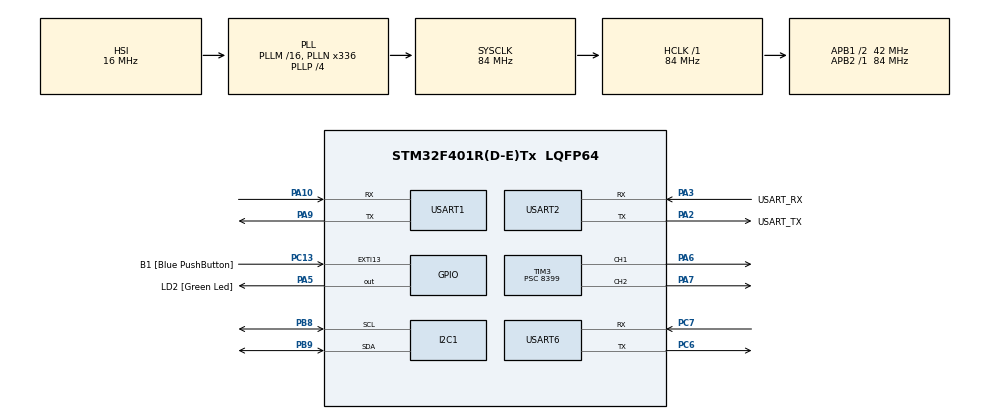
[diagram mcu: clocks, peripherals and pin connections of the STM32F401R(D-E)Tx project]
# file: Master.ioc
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Mcu.Family=STM32F4
Mcu.Name=STM32F401R(D-E)Tx
Mcu.Package=LQFP64
NVIC.PriorityGroup=NVIC_PRIORITYGROUP_4
NVIC.TIM3_IRQn=true\:0\:0\:false\:false\:true\:true\:true\:true
NVIC.USART1_IRQn=true\:0\:0\:false\:false\:true\:true\:true\:true
NVIC.USART6_IRQn=true\:0\:0\:false\:false\:true\:true\:true\:true
PA10.GPIO_Speed=GPIO_SPEED_FREQ_HIGH
PA10.Mode=Asynchronous
PA10.Signal=USART1_RX
PA13.GPIO_Label=TMS
PA13.Mode=Trace_Asynchronous_SW
PA13.Signal=SYS_JTMS-SWDIO
PA14.GPIO_Label=TCK
PA14.Mode=Trace_Asynchronous_SW
PA14.Signal=SYS_JTCK-SWCLK
PA2.GPIO_Label=USART_TX
PA2.GPIO_Mode=GPIO_MODE_AF_PP
PA2.GPIO_PuPd=GPIO_NOPULL
PA2.GPIO_Speed=GPIO_SPEED_FREQ_LOW
PA2.Mode=Asynchronous
PA2.Signal=USART2_TX
PA3.GPIO_Label=USART_RX
PA3.GPIO_Mode=GPIO_MODE_AF_PP
PA3.GPIO_PuPd=GPIO_NOPULL
PA3.GPIO_Speed=GPIO_SPEED_FREQ_LOW
PA3.Mode=Asynchronous
PA3.Signal=USART2_RX
PA5.GPIO_Label=LD2 [Green Led]
PA5.GPIO_Mode=GPIO_MODE_OUTPUT_PP
PA5.GPIO_PuPd=GPIO_NOPULL
PA5.GPIO_Speed=GPIO_SPEED_FREQ_LOW
PA5.Signal=GPIO_Output
PA6.Signal=S_TIM3_CH1
PA7.Signal=S_TIM3_CH2
PA9.GPIO_Speed=GPIO_SPEED_FREQ_HIGH
PA9.Mode=Asynchronous
PA9.Signal=USART1_TX
PB3.GPIO_Label=SWO
PB3.Mode=Trace_Asynchronous_SW
PB3.Signal=SYS_JTDO-SWO
PB8.GPIO_Pu=GPIO_PULLUP
PB8.Mode=I2C
PB8.Signal=I2C1_SCL
PB9.GPIO_Pu=GPIO_PULLUP
PB9.Mode=I2C
PB9.Signal=I2C1_SDA
PC13-ANTI_TAMP.GPIO_Label=B1 [Blue PushButton]
PC13-ANTI_TAMP.GPIO_ModeDefaultEXTI=GPIO_MODE_IT_FALLING
PC13-ANTI_TAMP.GPIO_PuPd=GPIO_NOPULL
PC13-ANTI_TAMP.Signal=GPXTI13
PC14-OSC32_IN.Mode=LSE-External-Oscillator
PC14-OSC32_IN.Signal=RCC_OSC32_IN
PC15-OSC32_OUT.Mode=LSE-External-Oscillator
PC15-OSC32_OUT.Signal=RCC_OSC32_OUT
PC6.GPIO_Speed=GPIO_SPEED_FREQ_HIGH
PC6.Mode=Asynchronous
PC6.Signal=USART6_TX
PC7.GPIO_Speed=GPIO_SPEED_FREQ_HIGH
PC7.Mode=Asynchronous
PC7.Signal=USART6_RX
PH0\ -\ OSC_IN.Mode=HSE-External-Clock-Source
PH0\ -\ OSC_IN.Signal=RCC_OSC_IN
PH1\ -\ OSC_OUT.Mode=HSE-External-Clock-Source
PH1\ -\ OSC_OUT.Signal=RCC_OSC_OUT
ProjectManager.HeapSize=0x200
ProjectManager.StackSize=0x400
ProjectManager.TargetToolchain=STM32CubeIDE
RCC.48MHZClocksFreq_Value=48000000
RCC.AHBFreq_Value=84000000
RCC.APB1CLKDivider=RCC_HCLK_DIV2
RCC.APB1Freq_Value=42000000
RCC.APB1TimFreq_Value=84000000
RCC.APB2Freq_Value=84000000
RCC.APB2TimFreq_Value=84000000
RCC.CortexFreq_Value=84000000
RCC.HCLKFreq_Value=84000000
RCC.HSE_VALUE=8000000
RCC.HSI_VALUE=16000000
RCC.PLLN=336
RCC.PLLP=RCC_PLLP_DIV4
RCC.PLLQ=7
RCC.SYSCLKFreq_VALUE=84000000
RCC.SYSCLKSource=RCC_SYSCLKSOURCE_PLLCLK
RCC.VCOOutputFreq_Value=336000000
SH.S_TIM3_CH1.0=TIM3_CH1,Output Compare1 CH1
SH.S_TIM3_CH2.0=TIM3_CH2,Output Compare2 CH2
TIM3.Channel-Output\ Compare1\ CH1=TIM_CHANNEL_1
TIM3.Channel-Output\ Compare2\ CH2=TIM_CHANNEL_2
TIM3.Period=65535
TIM3.Prescaler=8399
USART1.VirtualMode=VM_ASYNC
USART2.VirtualMode=VM_ASYNC
USART6.VirtualMode=VM_ASYNC
VP_TIM3_VS_ClockSourceINT.Mode=Internal
board=NUCLEO-F401RE

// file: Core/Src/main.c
/* USER CODE BEGIN Header */
/**
 ******************************************************************************
 * @file           : main.c
 * @brief          : Main program body
 ******************************************************************************
 * @attention
 *
 * Copyright (c) 2025 STMicroelectronics.
 * All rights reserved.
 *
 * This software is licensed under terms that can be found in the LICENSE file
 * in the root directory of this software component.
 * If no LICENSE file comes with this software, it is provided AS-IS.
 *
 ******************************************************************************
 */
/* USER CODE END Header */
#include "main.h"

/* USER CODE BEGIN Includes */

#include <stdio.h>
#include <inttypes.h>
#include "ssd1306/ssd1306.h"
#include "ssd1306/ssd1306_fonts.h"

/* USER CODE END Includes */

I2C_HandleTypeDef hi2c1;

TIM_HandleTypeDef htim3;

UART_HandleTypeDef huart1;
UART_HandleTypeDef huart2;
UART_HandleTypeDef huart6;

void SystemClock_Config(void);
static void MX_GPIO_Init(void);
static void MX_I2C1_Init(void);
static void MX_USART1_UART_Init(void);
static void MX_USART6_UART_Init(void);
static void MX_USART2_UART_Init(void);
static void MX_TIM3_Init(void);
/* USER CODE BEGIN PFP */

#define INCIDENTS_LOCK_BIT 1U //const for lock bit
__IO uint32_t incidents_lock = 0; //lock variable for incidents

#define DELAY_TICKS 30000U //delay ticks for TIM3

/* USER CODE END PFP */

/* USER CODE BEGIN 0 */

uint8_t rx1[8], rx6[8]; // Variables to hold received data from UART1 and UART6
uint32_t incidents = 0;

/* USER CODE END 0 */

int main(void)
{

  /* MCU Configuration--------------------------------------------------------*/

  /* Reset of all peripherals, Initializes the Flash interface and the Systick. */
  HAL_Init();

  /* Configure the system clock */
  SystemClock_Config();

  /* Initialize all configured peripherals */
  MX_GPIO_Init();
  MX_I2C1_Init();
  MX_USART1_UART_Init();
  MX_USART6_UART_Init();
  MX_USART2_UART_Init();
  MX_TIM3_Init();
  /* USER CODE BEGIN 2 */

	HAL_TIM_Base_Start(&htim3);
	HAL_UART_Receive_IT(&huart1, rx1, 8);
	HAL_UART_Receive_IT(&huart6, rx6, 8);

	ssd1306_Init();

	// Clear the OLED display
	ssd1306_Fill(Black);
	ssd1306_UpdateScreen();

	char incidents_string[11] = "Undefined!";

  /* USER CODE END 2 */

  /* Infinite loop */
	while (1) {

    /* USER CODE BEGIN 3 */

		// Display the number of incidents on the OLED
		ssd1306_SetCursor(2, 0);
		ssd1306_WriteString("Numero incidenti:", Font_7x10, White);
		ssd1306_SetCursor(2, 18);
		snprintf(incidents_string, sizeof(incidents_string), "%" PRIu32,
				incidents);
		ssd1306_WriteString(incidents_string, Font_11x18, White);
		ssd1306_UpdateScreen();
	}
  /* USER CODE END 3 */
}

void SystemClock_Config(void)
{
  RCC_OscInitTypeDef RCC_OscInitStruct = {0};
  RCC_ClkInitTypeDef RCC_ClkInitStruct = {0};

  /** Configure the main internal regulator output voltage
  */
  __HAL_RCC_PWR_CLK_ENABLE();
  __HAL_PWR_VOLTAGESCALING_CONFIG(PWR_REGULATOR_VOLTAGE_SCALE2);

  /** Initializes the RCC Oscillators according to the specified parameters
  * in the RCC_OscInitTypeDef structure.
  */
  RCC_OscInitStruct.OscillatorType = RCC_OSCILLATORTYPE_HSI;
  RCC_OscInitStruct.HSIState = RCC_HSI_ON;
  RCC_OscInitStruct.HSICalibrationValue = RCC_HSICALIBRATION_DEFAULT;
  RCC_OscInitStruct.PLL.PLLState = RCC_PLL_ON;
  RCC_OscInitStruct.PLL.PLLSource = RCC_PLLSOURCE_HSI;
  RCC_OscInitStruct.PLL.PLLM = 16;
  RCC_OscInitStruct.PLL.PLLN = 336;
  RCC_OscInitStruct.PLL.PLLP = RCC_PLLP_DIV4;
  RCC_OscInitStruct.PLL.PLLQ = 7;
  if (HAL_RCC_OscConfig(&RCC_OscInitStruct) != HAL_OK)
  {
    Error_Handler();
  }

  /** Initializes the CPU, AHB and APB buses clocks
  */
  RCC_ClkInitStruct.ClockType = RCC_CLOCKTYPE_HCLK|RCC_CLOCKTYPE_SYSCLK
                              |RCC_CLOCKTYPE_PCLK1|RCC_CLOCKTYPE_PCLK2;
  RCC_ClkInitStruct.SYSCLKSource = RCC_SYSCLKSOURCE_PLLCLK;
  RCC_ClkInitStruct.AHBCLKDivider = RCC_SYSCLK_DIV1;
  RCC_ClkInitStruct.APB1CLKDivider = RCC_HCLK_DIV2;
  RCC_ClkInitStruct.APB2CLKDivider = RCC_HCLK_DIV1;

  if (HAL_RCC_ClockConfig(&RCC_ClkInitStruct, FLASH_LATENCY_2) != HAL_OK)
  {
    Error_Handler();
  }
}

static void MX_I2C1_Init(void)
{

  hi2c1.Instance = I2C1;
  hi2c1.Init.ClockSpeed = 100000;
  hi2c1.Init.DutyCycle = I2C_DUTYCYCLE_2;
  hi2c1.Init.OwnAddress1 = 0;
  hi2c1.Init.AddressingMode = I2C_ADDRESSINGMODE_7BIT;
  hi2c1.Init.DualAddressMode = I2C_DUALADDRESS_DISABLE;
  hi2c1.Init.OwnAddress2 = 0;
  hi2c1.Init.GeneralCallMode = I2C_GENERALCALL_DISABLE;
  hi2c1.Init.NoStretchMode = I2C_NOSTRETCH_DISABLE;
  if (HAL_I2C_Init(&hi2c1) != HAL_OK)
  {
    Error_Handler();
  }

}

static void MX_TIM3_Init(void)
{

  TIM_ClockConfigTypeDef sClockSourceConfig = {0};
  TIM_MasterConfigTypeDef sMasterConfig = {0};
  TIM_OC_InitTypeDef sConfigOC = {0};

  htim3.Instance = TIM3;
  htim3.Init.Prescaler = 8399;
  htim3.Init.CounterMode = TIM_COUNTERMODE_UP;
  htim3.Init.Period = 65535;
  htim3.Init.ClockDivision = TIM_CLOCKDIVISION_DIV1;
  htim3.Init.AutoReloadPreload = TIM_AUTORELOAD_PRELOAD_DISABLE;
  if (HAL_TIM_Base_Init(&htim3) != HAL_OK)
  {
    Error_Handler();
  }
  sClockSourceConfig.ClockSource = TIM_CLOCKSOURCE_INTERNAL;
  if (HAL_TIM_ConfigClockSource(&htim3, &sClockSourceConfig) != HAL_OK)
  {
    Error_Handler();
  }
  if (HAL_TIM_OC_Init(&htim3) != HAL_OK)
  {
    Error_Handler();
  }
  sMasterConfig.MasterOutputTrigger = TIM_TRGO_RESET;
  sMasterConfig.MasterSlaveMode = TIM_MASTERSLAVEMODE_DISABLE;
  if (HAL_TIMEx_MasterConfigSynchronization(&htim3, &sMasterConfig) != HAL_OK)
  {
    Error_Handler();
  }
  sConfigOC.OCMode = TIM_OCMODE_TIMING;
  sConfigOC.Pulse = 0;
  sConfigOC.OCPolarity = TIM_OCPOLARITY_HIGH;
  sConfigOC.OCFastMode = TIM_OCFAST_DISABLE;
  if (HAL_TIM_OC_ConfigChannel(&htim3, &sConfigOC, TIM_CHANNEL_1) != HAL_OK)
  {
    Error_Handler();
  }
  if (HAL_TIM_OC_ConfigChannel(&htim3, &sConfigOC, TIM_CHANNEL_2) != HAL_OK)
  {
    Error_Handler();
  }
  HAL_TIM_MspPostInit(&htim3);

}

static void MX_USART1_UART_Init(void)
{

  huart1.Instance = USART1;
  huart1.Init.BaudRate = 115200;
  huart1.Init.WordLength = UART_WORDLENGTH_8B;
  huart1.Init.StopBits = UART_STOPBITS_1;
  huart1.Init.Parity = UART_PARITY_NONE;
  huart1.Init.Mode = UART_MODE_TX_RX;
  huart1.Init.HwFlowCtl = UART_HWCONTROL_NONE;
  huart1.Init.OverSampling = UART_OVERSAMPLING_16;
  if (HAL_UART_Init(&huart1) != HAL_OK)
  {
    Error_Handler();
  }

}

static void MX_USART2_UART_Init(void)
{

  huart2.Instance = USART2;
  huart2.Init.BaudRate = 115200;
  huart2.Init.WordLength = UART_WORDLENGTH_8B;
  huart2.Init.StopBits = UART_STOPBITS_1;
  huart2.Init.Parity = UART_PARITY_NONE;
  huart2.Init.Mode = UART_MODE_TX_RX;
  huart2.Init.HwFlowCtl = UART_HWCONTROL_NONE;
  huart2.Init.OverSampling = UART_OVERSAMPLING_16;
  if (HAL_UART_Init(&huart2) != HAL_OK)
  {
    Error_Handler();
  }

}

static void MX_USART6_UART_Init(void)
{

  huart6.Instance = USART6;
  huart6.Init.BaudRate = 115200;
  huart6.Init.WordLength = UART_WORDLENGTH_8B;
  huart6.Init.StopBits = UART_STOPBITS_1;
  huart6.Init.Parity = UART_PARITY_NONE;
  huart6.Init.Mode = UART_MODE_TX_RX;
  huart6.Init.HwFlowCtl = UART_HWCONTROL_NONE;
  huart6.Init.OverSampling = UART_OVERSAMPLING_16;
  if (HAL_UART_Init(&huart6) != HAL_OK)
  {
    Error_Handler();
  }

}

static void MX_GPIO_Init(void)
{
  GPIO_InitTypeDef GPIO_InitStruct = {0};

  /* GPIO Ports Clock Enable */
  __HAL_RCC_GPIOC_CLK_ENABLE();
  __HAL_RCC_GPIOH_CLK_ENABLE();
  __HAL_RCC_GPIOA_CLK_ENABLE();
  __HAL_RCC_GPIOB_CLK_ENABLE();

  /*Configure GPIO pin Output Level */
  HAL_GPIO_WritePin(LD2_GPIO_Port, LD2_Pin, GPIO_PIN_RESET);

  /*Configure GPIO pin : B1_Pin */
  GPIO_InitStruct.Pin = B1_Pin;
  GPIO_InitStruct.Mode = GPIO_MODE_IT_FALLING;
  GPIO_InitStruct.Pull = GPIO_NOPULL;
  HAL_GPIO_Init(B1_GPIO_Port, &GPIO_InitStruct);

  /*Configure GPIO pin : LD2_Pin */
  GPIO_InitStruct.Pin = LD2_Pin;
  GPIO_InitStruct.Mode = GPIO_MODE_OUTPUT_PP;
  GPIO_InitStruct.Pull = GPIO_NOPULL;
  GPIO_InitStruct.Speed = GPIO_SPEED_FREQ_LOW;
  HAL_GPIO_Init(LD2_GPIO_Port, &GPIO_InitStruct);

}

/* USER CODE BEGIN 4 */

/**
 * @brief  Rx Transfer completed callbacks.
 * @param  huart  Pointer to a UART_HandleTypeDef structure that contains
 *                the configuration information for the specified UART module.
 * @retval None
 */
void HAL_UART_RxCpltCallback(UART_HandleTypeDef *huart) {
	if (huart->Instance == USART1 || huart->Instance == USART6) {
		while (incidents_lock & INCIDENTS_LOCK_BIT) {
		}
		ATOMIC_SET_BIT(incidents_lock, INCIDENTS_LOCK_BIT); // acquire lock

		/* critical section */
		incidents++;

		ATOMIC_CLEAR_BIT(incidents_lock, INCIDENTS_LOCK_BIT); // release lock

		uint32_t now = __HAL_TIM_GET_COUNTER(&htim3);
		uint32_t next = (now + DELAY_TICKS) % (htim3.Init.Period + 1); // should be equal to now

		if (huart->Instance == USART1) {
			__HAL_TIM_SET_COMPARE(&htim3, TIM_CHANNEL_1, next);
			HAL_TIM_OC_Start_IT(&htim3, TIM_CHANNEL_1);
		} else if (huart->Instance == USART6) {
			__HAL_TIM_SET_COMPARE(&htim3, TIM_CHANNEL_2, next);
			HAL_TIM_OC_Start_IT(&htim3, TIM_CHANNEL_2);
		}
		HAL_UART_Receive_IT(huart, (huart->Instance == USART1) ? rx1 : rx6, 8);
	}
}

/**
 * @brief  Output Compare callback in non-blocking mode
 * @param  htim TIM OC handle
 * @retval None
 */
void HAL_TIM_OC_DelayElapsedCallback(TIM_HandleTypeDef *htim) {
	if (htim->Instance != TIM3)
		return;
	uint8_t msg[] = "HLPSNT\r\n";
	if (htim->Channel == HAL_TIM_ACTIVE_CHANNEL_1) {
		// 3 s elapsed for TIM3 CH1, send on USART1
		HAL_UART_Transmit(&huart1, msg, sizeof(msg) - 1, HAL_MAX_DELAY);
		HAL_TIM_OC_Stop_IT(&htim3, TIM_CHANNEL_1);
	} else if (htim->Channel == HAL_TIM_ACTIVE_CHANNEL_2) {
		// 3 s elapsed for TIM3 CH2, send on USART6
		HAL_UART_Transmit(&huart6, msg, sizeof(msg) - 1, HAL_MAX_DELAY);
		HAL_TIM_OC_Stop_IT(&htim3, TIM_CHANNEL_2);
	}
}

/* USER CODE END 4 */

void Error_Handler(void)
{
	__disable_irq();
	while (1) {
	}
}
